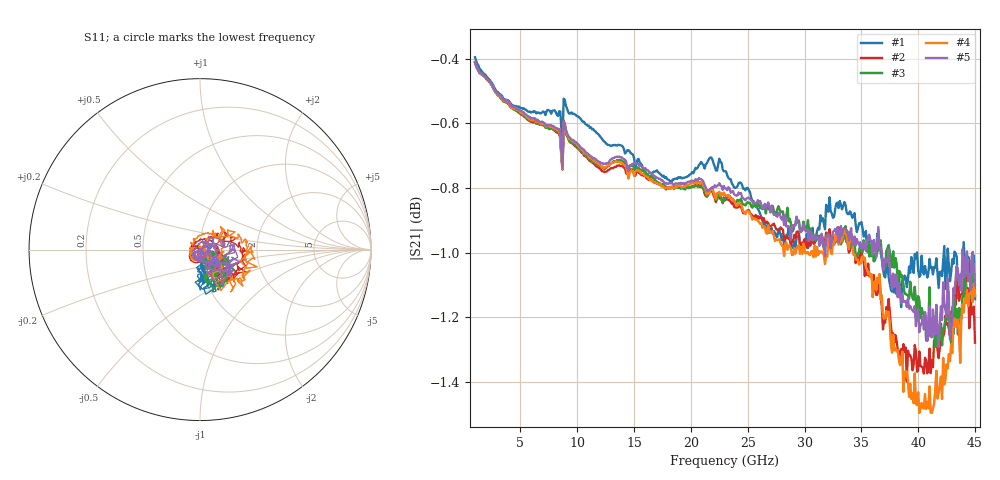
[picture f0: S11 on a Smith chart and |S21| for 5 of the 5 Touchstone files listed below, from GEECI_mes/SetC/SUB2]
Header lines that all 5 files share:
!Keysight Technologies,N5247B,MY61255062,A.19.80.06
!Correction: S11(Cdelta 2-Port  )
!S21(Cdelta 2-Port  )
!S12(Cdelta 2-Port  )
!S22(Cdelta 2-Port  )
!S2P File: Measurements: S11, S21, S12, S22:
# Hz S  dB  R 50
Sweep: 1 GHz to 45 GHz
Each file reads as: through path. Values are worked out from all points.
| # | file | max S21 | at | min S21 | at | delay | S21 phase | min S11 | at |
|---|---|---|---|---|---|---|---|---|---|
| 1 | thru_ref_nos1.s2p | -0.40 dB | 1 GHz | -1.2 dB | 38.5 GHz | 49.4 ps | -50 deg at 23 GHz | -29.9 dB | 11.2 GHz |
| 2 | TN1_120um.s2p | -0.41 dB | 1 GHz | -1.4 dB | 39 GHz | 56.6 ps | -110 deg at 23 GHz | -55.3 dB | 17.5 GHz |
| 3 | TN2_30um.s2p | -0.41 dB | 1 GHz | -1.3 dB | 41.5 GHz | 56 ps | -104 deg at 23 GHz | -33.3 dB | 6.7 GHz |
| 4 | TN3_120um.s2p | -0.41 dB | 1 GHz | -1.5 dB | 40.1 GHz | 56.2 ps | -106 deg at 23 GHz | -40.4 dB | 18.3 GHz |
| 5 | TN4_30um.s2p | -0.41 dB | 1 GHz | -1.3 dB | 41.8 GHz | 56.1 ps | -105 deg at 23 GHz | -54.3 dB | 35.4 GHz |
